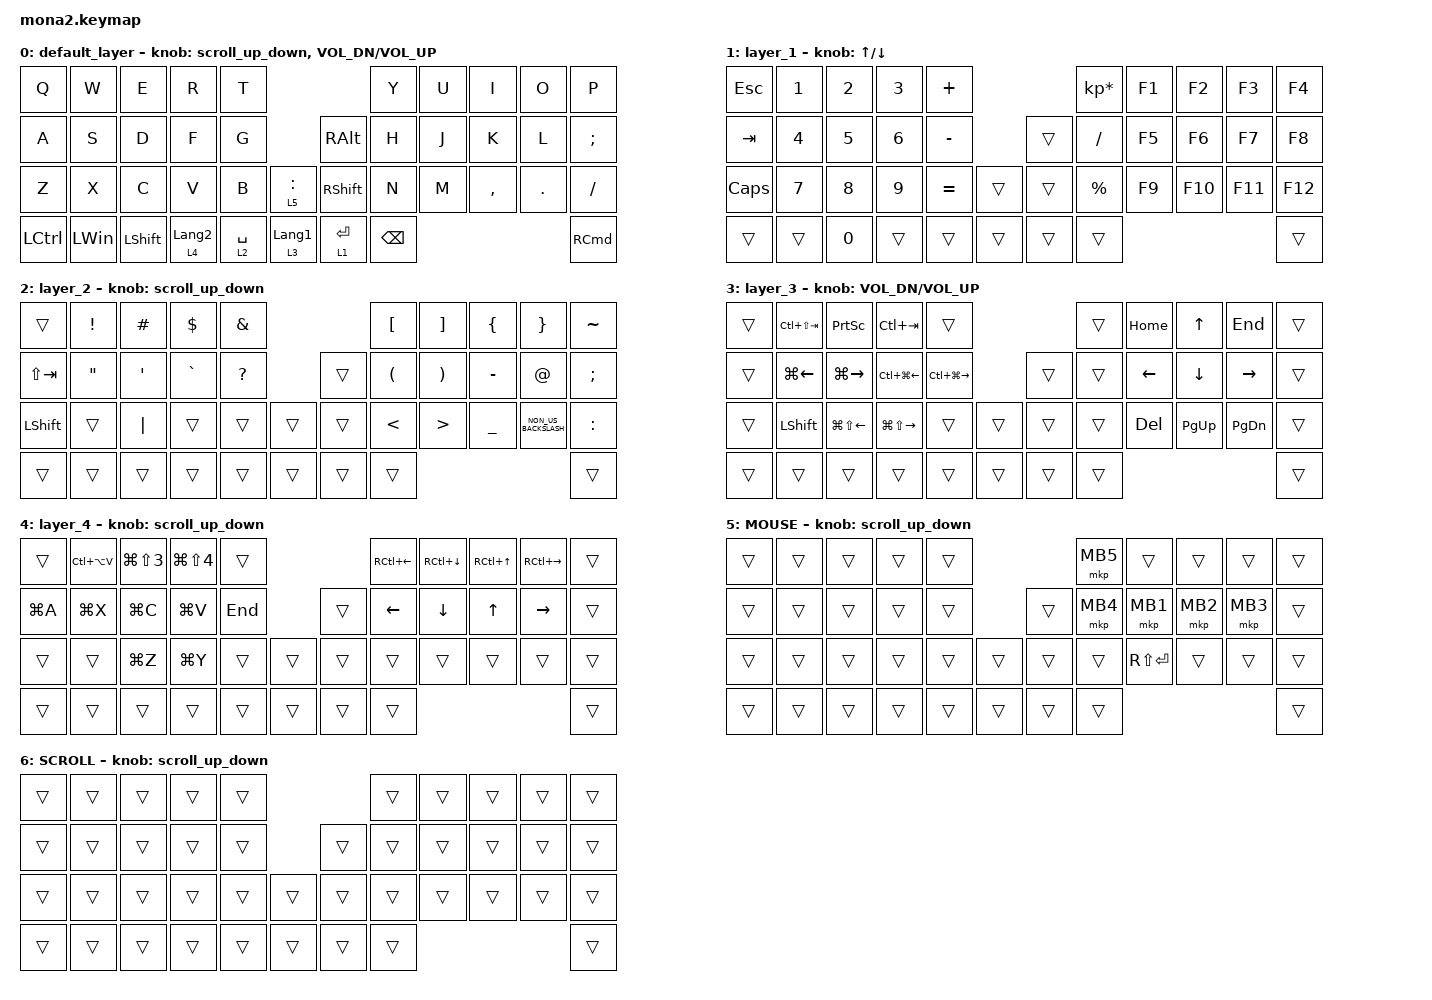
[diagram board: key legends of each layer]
#include <input/processors.dtsi>
#include <dt-bindings/zmk/input_transform.h>
#include <zephyr/dt-bindings/input/input-event-codes.h>
#include <behaviors.dtsi>
#include <dt-bindings/zmk/keys.h>
#include <dt-bindings/zmk/pointing.h>

#define ZMK_POINTING_DEFAULT_SCRL_VAL 100
#define MOUSE 5
#define SCROLL 6

&mt {
    flavor = "balanced";
    quick-tap-ms = <0>;
};

&lt {
    quick-tap-ms = <300>;
    flavor = "balanced";
};

/ {
    combos {
        compatible = "zmk,combos";

        layer4_ESC {
            bindings = <&lt 4 ESC>;
            key-positions = <39 38>;
        };

        tab {
            bindings = <&kp TAB>;
            key-positions = <11 12>;
        };
    };

    macros {
        to_layer_0: to_layer_0 {
            compatible = "zmk,behavior-macro-one-param";
            #binding-cells = <1>;
            bindings = <&to 0 &macro_param_1to1 &kp MACRO_PLACEHOLDER>;
            label = "TO_LAYER_0";
        };
    };

    behaviors {
        lt_to_layer_0: lt_to_layer_0 {
            compatible = "zmk,behavior-hold-tap";
            label = "LAYER_TAP_TO_0";
            bindings = <&mo>, <&to_layer_0>;

            #binding-cells = <2>;
            tapping-term-ms = <200>;
        };

        scroll_up_down: mouse_wheel_up_down {
            compatible = "zmk,behavior-sensor-rotate";
            #sensor-binding-cells = <0>;
            bindings = <&msc SCRL_DOWN>, <&msc SCRL_UP>;

            tap-ms = <20>;
        };

        scroll_right_left: mouse_wheel_right_left {
            compatible = "zmk,behavior-sensor-rotate";
            #sensor-binding-cells = <0>;
            bindings = <&msc SCRL_LEFT>, <&msc SCRL_RIGHT>;

            tap-ms = <20>;
        };
    };

    keymap {
        compatible = "zmk,keymap";

        default_layer {
            bindings = <
&kp Q      &kp W         &kp E           &kp R             &kp T                                             &kp Y          &kp U  &kp I      &kp O    &kp P
&kp A      &kp S         &kp D           &kp F             &kp G                            &kp RIGHT_ALT    &kp H          &kp J  &kp K      &kp L    &kp SEMICOLON
&kp Z      &kp X         &kp C           &kp V             &kp B        &lt 5 COLON         &kp RIGHT_SHIFT  &kp N          &kp M  &kp COMMA  &kp DOT  &kp SLASH
&kp LCTRL  &kp LEFT_WIN  &kp LEFT_SHIFT  &lt 4 LANGUAGE_2  &lt 2 SPACE  &lt 3 LANGUAGE_1    &lt 1 RETURN     &kp BACKSPACE                             &kp RIGHT_COMMAND
            >;

            sensor-bindings =
                <&scroll_up_down>,
                <&inc_dec_kp C_VOL_DN C_VOL_UP>;
        };

        layer_1 {
            bindings = <
&kp ESCAPE    &kp NUMBER_1  &kp NUMBER_2  &kp NUMBER_3  &kp PLUS                     &kp KP_MULTIPLY  &kp F1  &kp F2   &kp F3   &kp F4
&kp TAB       &kp NUMBER_4  &kp NUMBER_5  &kp NUMBER_6  &kp MINUS            &trans  &kp SLASH        &kp F5  &kp F6   &kp F7   &kp F8
&kp CAPSLOCK  &kp NUMBER_7  &kp NUMBER_8  &kp NUMBER_9  &kp EQUAL  &trans    &trans  &kp PERCENT      &kp F9  &kp F10  &kp F11  &kp F12
&trans        &trans        &kp NUMBER_0  &trans        &trans     &trans    &trans  &trans                                     &trans
            >;

            sensor-bindings = <&inc_dec_kp UP_ARROW DOWN_ARROW>;
        };

        layer_2 {
            bindings = <
&trans          &kp EXCLAMATION    &kp POUND  &kp DOLLAR  &kp AMPERSAND                    &kp LEFT_BRACKET      &kp RIGHT_BRACKET      &kp LEFT_BRACE  &kp RIGHT_BRACE       &kp TILDE
&kp LS(TAB)     &kp DOUBLE_QUOTES  &kp SQT    &kp GRAVE   &kp QUESTION             &trans  &kp LEFT_PARENTHESIS  &kp RIGHT_PARENTHESIS  &kp MINUS       &kp AT_SIGN           &kp SEMICOLON
&kp LEFT_SHIFT  &trans             &kp PIPE   &trans      &trans         &trans    &trans  &kp LESS_THAN         &kp GREATER_THAN       &kp UNDERSCORE  &kp NON_US_BACKSLASH  &kp COLON
&trans          &trans             &trans     &trans      &trans         &trans    &trans  &trans                                                                             &trans
            >;

            sensor-bindings = <&scroll_up_down>;
        };

        layer_3 {
            bindings = <
&trans  &kp LC(LS(TAB))     &kp PRINTSCREEN         &kp LC(TAB)              &trans                                     &trans  &kp HOME        &kp UP_ARROW    &kp END          &trans
&trans  &kp LG(LEFT_ARROW)  &kp LG(RIGHT_ARROW)     &kp LC(LG(LEFT_ARROW))   &kp LC(LG(RIGHT_ARROW))            &trans  &trans  &kp LEFT_ARROW  &kp DOWN_ARROW  &kp RIGHT_ARROW  &trans
&trans  &kp LEFT_SHIFT      &kp LG(LS(LEFT_ARROW))  &kp LG(LS(RIGHT_ARROW))  &trans                   &trans    &trans  &trans  &kp DELETE      &kp PAGE_UP     &kp PAGE_DOWN    &trans
&trans  &trans              &trans                  &trans                   &trans                   &trans    &trans  &trans                                                   &trans
            >;

            sensor-bindings = <&inc_dec_kp C_VOL_DN C_VOL_UP>;
        };

        layer_4 {
            bindings = <
&trans     &kp LC(LA(V))  &kp LG(LS(NUMBER_3))  &kp LG(LS(NUMBER_4))  &trans                     &kp RC(LEFT_ARROW)  &kp RC(DOWN_ARROW)  &kp RC(UP_ARROW)  &kp RC(RIGHT_ARROW)  &trans
&kp LG(A)  &kp LG(X)      &kp LG(C)             &kp LG(V)             &kp END            &trans  &kp LEFT_ARROW      &kp DOWN_ARROW      &kp UP_ARROW      &kp RIGHT_ARROW      &trans
&trans     &trans         &kp LG(Z)             &kp LG(Y)             &trans   &trans    &trans  &trans              &trans              &trans            &trans               &trans
&trans     &trans         &trans                &trans                &trans   &trans    &trans  &trans                                                                         &trans
            >;

            sensor-bindings = <&scroll_up_down>;
        };

        MOUSE {
            bindings = <
&trans  &trans  &trans  &trans  &trans                    &mkp MB5  &trans          &trans    &trans    &trans
&trans  &trans  &trans  &trans  &trans            &trans  &mkp MB4  &mkp MB1        &mkp MB2  &mkp MB3  &trans
&trans  &trans  &trans  &trans  &trans  &trans    &trans  &trans    &kp RS(RETURN)  &trans    &trans    &trans
&trans  &trans  &trans  &trans  &trans  &trans    &trans  &trans                                        &trans
            >;

            sensor-bindings = <&scroll_up_down>;
        };

        SCROLL {
            bindings = <
&trans  &trans  &trans  &trans  &trans                    &trans  &trans  &trans  &trans  &trans
&trans  &trans  &trans  &trans  &trans            &trans  &trans  &trans  &trans  &trans  &trans
&trans  &trans  &trans  &trans  &trans  &trans    &trans  &trans  &trans  &trans  &trans  &trans
&trans  &trans  &trans  &trans  &trans  &trans    &trans  &trans                          &trans
            >;

            sensor-bindings = <&scroll_up_down>;
        };
    };
};
